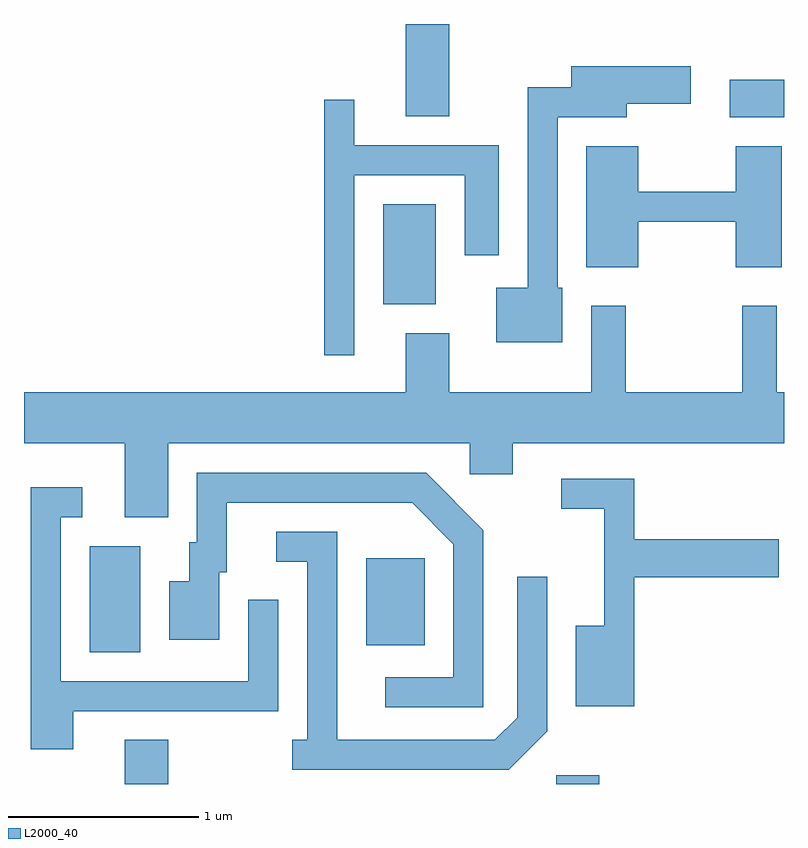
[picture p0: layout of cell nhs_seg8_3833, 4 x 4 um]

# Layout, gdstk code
import gdstk
lib = gdstk.Library(unit=1e-6, precision=1e-09)
def R(c, l, rs):  # rectangles x0, y0, x1, y1
    for r in rs: c.add(gdstk.rectangle(r[:2], r[2:], *l))
def P(c, l, *ps):  # polygons
    for p in ps: c.add(gdstk.Polygon(p, *l))
L2000_40 = (2000, 40)

nhs_seg8_3833 = lib.new_cell('nhs_seg8_3833')
R(nhs_seg8_3833, L2000_40, [(300.141,1892.342,300.369,1892.574), (302.411,1892.342,302.639,1892.389), (299.956,1893.036,300.224,1893.594), (301.411,1893.071,301.719,1893.529), (301.501,1894.866,301.779,1895.394), (303.326,1895.851,303.611,1896.049), (301.621,1895.856,301.849,1896.342)])
P(nhs_seg8_3833, L2000_40, [(302.444,1894.954),(302.419,1894.954),(302.419,1895.851),(302.784,1895.851),(302.784,1895.921),(303.119,1895.921),(303.119,1896.119),(302.491,1896.119),(302.491,1896.009),(302.261,1896.009),(302.261,1894.954),(302.096,1894.954),(302.096,1894.666),(302.444,1894.666)],
  [(301.349,1895.546),(301.931,1895.546),(301.931,1895.126),(302.109,1895.126),(302.109,1895.704),(301.349,1895.704),(301.349,1895.943),(301.191,1895.943),(301.191,1894.598),(301.349,1894.598)],
  [(302.844,1895.301),(303.356,1895.301),(303.356,1895.061),(303.599,1895.061),(303.599,1895.699),(303.356,1895.699),(303.356,1895.459),(302.844,1895.459),(302.844,1895.699),(302.571,1895.699),(302.571,1895.061),(302.844,1895.061)],
  [(300.369,1894.136),(301.956,1894.136),(301.956,1893.971),(302.184,1893.971),(302.184,1894.136),(303.611,1894.136),(303.611,1894.404),(303.574,1894.404),(303.574,1894.859),(303.391,1894.859),(303.391,1894.404),(302.779,1894.404),(302.779,1894.859),(302.596,1894.859),(302.596,1894.404),(301.849,1894.404),(301.849,1894.714),(301.621,1894.714),(301.621,1894.404),(299.611,1894.404),(299.611,1894.136),(300.141,1894.136),(300.141,1893.746),(300.369,1893.746)],
  [(302.029,1893.677),(301.727,1893.979),(300.521,1893.979),(300.521,1893.614),(300.481,1893.614),(300.481,1893.409),(300.376,1893.409),(300.376,1893.101),(300.639,1893.101),(300.639,1893.456),(300.679,1893.456),(300.679,1893.821),(301.654,1893.821),(301.871,1893.604),(301.871,1892.904),(301.513,1892.904),(301.513,1892.746),(302.029,1892.746)],
  [(302.824,1893.431),(303.584,1893.431),(303.584,1893.629),(302.824,1893.629),(302.824,1893.949),(302.438,1893.949),(302.438,1893.791),(302.666,1893.791),(302.666,1893.174),(302.516,1893.174),(302.516,1892.751),(302.824,1892.751)],
  [(299.869,1892.726),(300.949,1892.726),(300.949,1893.313),(300.791,1893.313),(300.791,1892.884),(299.804,1892.884),(299.804,1893.746),(299.918,1893.746),(299.918,1893.904),(299.646,1893.904),(299.646,1892.526),(299.869,1892.526)],
  [(302.364,1892.619),(302.364,1893.433),(302.206,1893.433),(302.206,1892.692),(302.089,1892.574),(301.259,1892.574),(301.259,1893.669),(300.938,1893.669),(300.938,1893.511),(301.101,1893.511),(301.101,1892.574),(301.023,1892.574),(301.023,1892.416),(302.162,1892.416)])

lib.write_gds('nhs_seg8_3833.gds')
